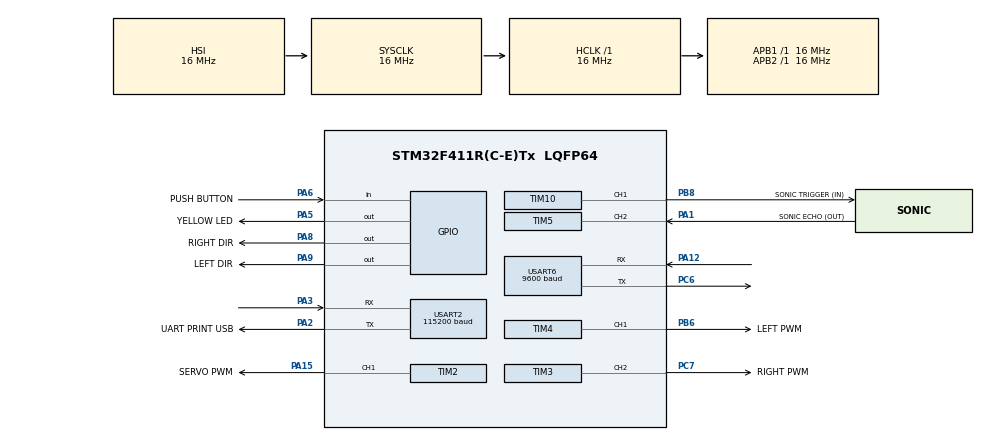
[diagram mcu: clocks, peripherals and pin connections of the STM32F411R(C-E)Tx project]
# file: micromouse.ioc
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Mcu.Family=STM32F4
Mcu.Name=STM32F411R(C-E)Tx
Mcu.Package=LQFP64
NVIC.PriorityGroup=NVIC_PRIORITYGROUP_4
NVIC.TIM5_IRQn=true\:0\:0\:false\:false\:true\:true\:true\:true
NVIC.USART6_IRQn=true\:0\:0\:false\:false\:true\:true\:true\:true
PA1.GPIO_Label=SONIC ECHO (OUT)
PA1.Signal=S_TIM5_CH2
PA12.Mode=Asynchronous
PA12.Signal=USART6_RX
PA15.GPIO_Label=SERVO PWM
PA15.Signal=S_TIM2_CH1_ETR
PA2.GPIO_Label=UART PRINT USB
PA2.Mode=Asynchronous
PA2.Signal=USART2_TX
PA3.Mode=Asynchronous
PA3.Signal=USART2_RX
PA5.GPIO_Label=YELLOW LED
PA5.Signal=GPIO_Output
PA6.GPIO_Label=PUSH BUTTON
PA6.Signal=GPIO_Input
PA8.GPIO_Label=RIGHT DIR
PA8.Signal=GPIO_Output
PA9.GPIO_Label=LEFT DIR
PA9.Signal=GPIO_Output
PB6.GPIO_Label=LEFT PWM
PB6.Signal=S_TIM4_CH1
PB8.GPIO_Label=SONIC TRIGGER (IN)
PB8.Signal=S_TIM10_CH1
PC6.Mode=Asynchronous
PC6.Signal=USART6_TX
PC7.GPIO_Label=RIGHT PWM
PC7.Signal=S_TIM3_CH2
ProjectManager.HeapSize=0x200
ProjectManager.StackSize=0x400
ProjectManager.TargetToolchain=STM32CubeIDE
RCC.AHBFreq_Value=16000000
RCC.APB1Freq_Value=16000000
RCC.APB2Freq_Value=16000000
RCC.CortexFreq_Value=16000000
RCC.HSE_VALUE=25000000
RCC.HSI_VALUE=16000000
RCC.LSE_VALUE=32768
RCC.SYSCLKFreq_VALUE=16000000
RCC.VCOOutputFreq_Value=192000000
SH.S_TIM10_CH1.0=TIM10_CH1,PWM Generation1 CH1
SH.S_TIM2_CH1_ETR.0=TIM2_CH1,PWM Generation1 CH1
SH.S_TIM3_CH2.0=TIM3_CH2,PWM Generation2 CH2
SH.S_TIM4_CH1.0=TIM4_CH1,PWM Generation1 CH1
SH.S_TIM5_CH2.0=TIM5_CH2,Input_Capture2_from_TI2
TIM10.Channel=TIM_CHANNEL_1
TIM10.Period=7999
TIM10.Prescaler=159
TIM10.Pulse=1
TIM2.Channel-PWM\ Generation1\ CH1=TIM_CHANNEL_1
TIM2.Period=3999
TIM2.Prescaler=159
TIM3.Channel-PWM\ Generation2\ CH2=TIM_CHANNEL_2
TIM3.Period=400
TIM4.Channel-PWM\ Generation1\ CH1=TIM_CHANNEL_1
TIM4.Period=400
TIM4.Prescaler=79
TIM5.Channel-Input_Capture2_from_TI2=TIM_CHANNEL_2
TIM5.ICPolarity_CH2=TIM_INPUTCHANNELPOLARITY_RISING
TIM5.Period=65536
TIM5.Prescaler=15
USART2.BaudRate=115200
USART2.VirtualMode=VM_ASYNC
USART6.BaudRate=9600
USART6.VirtualMode=VM_ASYNC
VP_TIM10_VS_ClockSourceINT.Mode=Enable_Timer
board=custom

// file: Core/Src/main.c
/* USER CODE BEGIN Header */
/**
  ******************************************************************************
  * @file           : main.c
  * @brief          : Main program body
  ******************************************************************************
  * @attention
  *
  * <h2><center>&copy; Copyright (c) 2022 STMicroelectronics.
  * All rights reserved.</center></h2>
  *
  * This software component is licensed by ST under BSD 3-Clause license,
  * the "License"; You may not use this file except in compliance with the
  * License. You may obtain a copy of the License at:
  *                        opensource.org/licenses/BSD-3-Clause
  *
  ******************************************************************************
  */
/* USER CODE END Header */
#include "main.h"

/* USER CODE BEGIN Includes */
#include "LED.h"
#include "algorithm.h"
#include "motors.h"
#include "servo.h"
#include "manual_control.h"

/* USER CODE END Includes */

/* USER CODE BEGIN PD */
#define UART_buffer_size 30
/* USER CODE END PD */

 TIM_HandleTypeDef htim2;
TIM_HandleTypeDef htim3;
TIM_HandleTypeDef htim4;
TIM_HandleTypeDef htim5;
TIM_HandleTypeDef htim10;

UART_HandleTypeDef huart2;
UART_HandleTypeDef huart6;

/* USER CODE BEGIN PV */
uint8_t UART6_rxBuffer[UART_buffer_size] = {0};
char current_manual_command = 's';
char requested_manual_command = 's';
/* USER CODE END PV */

void SystemClock_Config(void);
static void MX_GPIO_Init(void);
static void MX_TIM3_Init(void);
static void MX_TIM4_Init(void);
static void MX_TIM2_Init(void);
static void MX_TIM5_Init(void);
static void MX_USART6_UART_Init(void);
static void MX_TIM10_Init(void);
static void MX_USART2_UART_Init(void);

/* USER CODE BEGIN 0 */

void HAL_UART_RxCpltCallback(UART_HandleTypeDef *huart)
{
	HAL_NVIC_DisableIRQ(USART6_IRQn);
	// Save the last command

	// Enable Interrupts
	HAL_NVIC_EnableIRQ(USART6_IRQn);
	HAL_StatusTypeDef ret = HAL_UART_Receive_IT(&huart6, UART6_rxBuffer, UART_buffer_size);

	//	__HAL_UART_CLEAR_FLAG(&huart6, UART_CLEAR_OREF);
	//__HAL_UART_SEND_REQ(JETSON_UART, UART_RXDATA_FLUSH_REQUEST);

	if (ret != HAL_OK) {
		Error_Handler();
		HAL_UART_Abort_IT(&huart6);
		SET_BIT(huart6.Instance->CR3, USART_CR3_EIE);
		HAL_UART_Receive_IT(&huart6, UART6_rxBuffer, UART_buffer_size);
	}
	HAL_NVIC_ClearPendingIRQ(USART6_IRQn);
	requested_manual_command = UART6_rxBuffer[0];
}

/* USER CODE END 0 */

int main(void)
{

  /* MCU Configuration--------------------------------------------------------*/

  /* Reset of all peripherals, Initializes the Flash interface and the Systick. */
  HAL_Init();

  /* Configure the system clock */
  SystemClock_Config();

  /* Initialize all configured peripherals */
  MX_GPIO_Init();
  MX_TIM3_Init();
  MX_TIM4_Init();
  MX_TIM2_Init();
  MX_TIM5_Init();
  MX_USART6_UART_Init();
  MX_TIM10_Init();
  MX_USART2_UART_Init();
  /* USER CODE BEGIN 2 */

  turn_LEDs_all(Off);  // Turn all colors off
  turn_LED(Red, On);  // Turn Red on to indicate state is on
  set_servo_angle(Front);  // Make sure the servo is facing forward
  stop_all_motors();  // Make sure the car is stopped

  // Enable the timers
  __HAL_TIM_ENABLE_IT(&htim5, TIM_IT_CC2);	 // Sonic Echo PWM
  HAL_TIM_PWM_Start(&htim4, TIM_CHANNEL_1);  // Left Motor PWM
  HAL_TIM_PWM_Start(&htim3, TIM_CHANNEL_2);  // Right Motor PWM
  HAL_TIM_PWM_Start(&htim2, TIM_CHANNEL_1);  // Servo Motor PWM
  HAL_TIM_PWM_Start(&htim5, TIM_CHANNEL_2);  // Sonic Echo PWM
  HAL_TIM_PWM_Start(&htim10, TIM_CHANNEL_1);  // Sonic Trigger PWM

  HAL_UART_Receive_IT(&huart6, UART6_rxBuffer, UART_buffer_size);
  uint8_t determined_algorithm = determine_algorithm();

  requested_manual_command = S_CHAR; // TODO - change to S_CHAR if manual mode is supported, AUTON_CHAR if not
//  requested_manual_command = AUTON_CHAR;  // TODO - change to S_CHAR if manual mode is supported, AUTON_CHAR if not
//  HAL_Delay(5000);  // TODO - TEMPORARY DELAY

  /* USER CODE END 2 */

  /* Infinite loop */
  while (1)
  {

    /* USER CODE BEGIN 3 */
	LEFT_MOTOR_MULT = LEFT_MOTOR_MULT_DEFAULT;
	RIGHT_MOTOR_MULT = RIGHT_MOTOR_MULT_DEFAULT;
    set_servo_angle(Front);
    if (current_manual_command != COMPLETED_CHAR)
    {
		printf("Currently changing to manual mode.\r\n");
		char buf[20];
		memcpy(buf, "&MANUAL,,,,,,,,,,,,", 20);
		HAL_UART_Transmit(&huart6, buf, sizeof(buf), 1000);
    }  // if (current_manual_command != COMPLETED_CHAR && current_manual_command != S_CHAR)

	  while (current_manual_command != AUTON_CHAR)
	  {
//			printf("Currently changing to manual mode.\r\n");
//			char buf[20];
//			memcpy(buf, "&MANUAL,,,,,,,,,,,,", 20);
//			HAL_UART_Transmit(&huart6, buf, sizeof(buf), 1000);
		  if(requested_manual_command != current_manual_command)
		  {
			  execute_manual_command(requested_manual_command);
		  }  // if(requested_manual_command != current_manual_command)
	  }  // while (current_manual_command != AUTON_CHAR)

    set_servo_angle(Front);
    printf("Changing to autonomous mode.\r\n");
    char buf[20];
    memcpy(buf, "&AUTONOMOUS,,,,,,,,", 20);
    HAL_UART_Transmit(&huart6, buf, sizeof(buf), 1000);

	  uint8_t completed = do_search_algorithm(determined_algorithm);

    if (completed)
    {
      complete_search_algorithm();
      requested_manual_command = COMPLETED_CHAR;
      current_manual_command = COMPLETED_CHAR;
    }  // if (completed)
    else
    {
	  current_manual_command = S_CHAR;
    }
  }  // while (1)
  /* USER CODE END 3 */
}

void SystemClock_Config(void)
{
  RCC_OscInitTypeDef RCC_OscInitStruct = {0};
  RCC_ClkInitTypeDef RCC_ClkInitStruct = {0};

  /** Configure the main internal regulator output voltage
  */
  __HAL_RCC_PWR_CLK_ENABLE();
  __HAL_PWR_VOLTAGESCALING_CONFIG(PWR_REGULATOR_VOLTAGE_SCALE1);

  /** Initializes the RCC Oscillators according to the specified parameters
  * in the RCC_OscInitTypeDef structure.
  */
  RCC_OscInitStruct.OscillatorType = RCC_OSCILLATORTYPE_HSI;
  RCC_OscInitStruct.HSIState = RCC_HSI_ON;
  RCC_OscInitStruct.HSICalibrationValue = RCC_HSICALIBRATION_DEFAULT;
  RCC_OscInitStruct.PLL.PLLState = RCC_PLL_NONE;
  if (HAL_RCC_OscConfig(&RCC_OscInitStruct) != HAL_OK)
  {
    Error_Handler();
  }

  /** Initializes the CPU, AHB and APB buses clocks
  */
  RCC_ClkInitStruct.ClockType = RCC_CLOCKTYPE_HCLK|RCC_CLOCKTYPE_SYSCLK
                              |RCC_CLOCKTYPE_PCLK1|RCC_CLOCKTYPE_PCLK2;
  RCC_ClkInitStruct.SYSCLKSource = RCC_SYSCLKSOURCE_HSI;
  RCC_ClkInitStruct.AHBCLKDivider = RCC_SYSCLK_DIV1;
  RCC_ClkInitStruct.APB1CLKDivider = RCC_HCLK_DIV1;
  RCC_ClkInitStruct.APB2CLKDivider = RCC_HCLK_DIV1;

  if (HAL_RCC_ClockConfig(&RCC_ClkInitStruct, FLASH_LATENCY_0) != HAL_OK)
  {
    Error_Handler();
  }
}

static void MX_TIM2_Init(void)
{

  TIM_MasterConfigTypeDef sMasterConfig = {0};
  TIM_OC_InitTypeDef sConfigOC = {0};

  htim2.Instance = TIM2;
  htim2.Init.Prescaler = 159;
  htim2.Init.CounterMode = TIM_COUNTERMODE_UP;
  htim2.Init.Period = 3999;
  htim2.Init.ClockDivision = TIM_CLOCKDIVISION_DIV1;
  htim2.Init.AutoReloadPreload = TIM_AUTORELOAD_PRELOAD_DISABLE;
  if (HAL_TIM_PWM_Init(&htim2) != HAL_OK)
  {
    Error_Handler();
  }
  sMasterConfig.MasterOutputTrigger = TIM_TRGO_RESET;
  sMasterConfig.MasterSlaveMode = TIM_MASTERSLAVEMODE_DISABLE;
  if (HAL_TIMEx_MasterConfigSynchronization(&htim2, &sMasterConfig) != HAL_OK)
  {
    Error_Handler();
  }
  sConfigOC.OCMode = TIM_OCMODE_PWM1;
  sConfigOC.Pulse = 0;
  sConfigOC.OCPolarity = TIM_OCPOLARITY_HIGH;
  sConfigOC.OCFastMode = TIM_OCFAST_DISABLE;
  if (HAL_TIM_PWM_ConfigChannel(&htim2, &sConfigOC, TIM_CHANNEL_1) != HAL_OK)
  {
    Error_Handler();
  }
  HAL_TIM_MspPostInit(&htim2);

}

static void MX_TIM3_Init(void)
{

  TIM_MasterConfigTypeDef sMasterConfig = {0};
  TIM_OC_InitTypeDef sConfigOC = {0};

  htim3.Instance = TIM3;
  htim3.Init.Prescaler = 0;
  htim3.Init.CounterMode = TIM_COUNTERMODE_UP;
  htim3.Init.Period = 400;
  htim3.Init.ClockDivision = TIM_CLOCKDIVISION_DIV1;
  htim3.Init.AutoReloadPreload = TIM_AUTORELOAD_PRELOAD_DISABLE;
  if (HAL_TIM_PWM_Init(&htim3) != HAL_OK)
  {
    Error_Handler();
  }
  sMasterConfig.MasterOutputTrigger = TIM_TRGO_RESET;
  sMasterConfig.MasterSlaveMode = TIM_MASTERSLAVEMODE_DISABLE;
  if (HAL_TIMEx_MasterConfigSynchronization(&htim3, &sMasterConfig) != HAL_OK)
  {
    Error_Handler();
  }
  sConfigOC.OCMode = TIM_OCMODE_PWM1;
  sConfigOC.Pulse = 0;
  sConfigOC.OCPolarity = TIM_OCPOLARITY_HIGH;
  sConfigOC.OCFastMode = TIM_OCFAST_DISABLE;
  if (HAL_TIM_PWM_ConfigChannel(&htim3, &sConfigOC, TIM_CHANNEL_2) != HAL_OK)
  {
    Error_Handler();
  }
  HAL_TIM_MspPostInit(&htim3);

}

static void MX_TIM4_Init(void)
{

  TIM_MasterConfigTypeDef sMasterConfig = {0};
  TIM_OC_InitTypeDef sConfigOC = {0};

  htim4.Instance = TIM4;
  htim4.Init.Prescaler = 79;
  htim4.Init.CounterMode = TIM_COUNTERMODE_UP;
  htim4.Init.Period = 400;
  htim4.Init.ClockDivision = TIM_CLOCKDIVISION_DIV1;
  htim4.Init.AutoReloadPreload = TIM_AUTORELOAD_PRELOAD_DISABLE;
  if (HAL_TIM_PWM_Init(&htim4) != HAL_OK)
  {
    Error_Handler();
  }
  sMasterConfig.MasterOutputTrigger = TIM_TRGO_RESET;
  sMasterConfig.MasterSlaveMode = TIM_MASTERSLAVEMODE_DISABLE;
  if (HAL_TIMEx_MasterConfigSynchronization(&htim4, &sMasterConfig) != HAL_OK)
  {
    Error_Handler();
  }
  sConfigOC.OCMode = TIM_OCMODE_PWM1;
  sConfigOC.Pulse = 0;
  sConfigOC.OCPolarity = TIM_OCPOLARITY_HIGH;
  sConfigOC.OCFastMode = TIM_OCFAST_DISABLE;
  if (HAL_TIM_PWM_ConfigChannel(&htim4, &sConfigOC, TIM_CHANNEL_1) != HAL_OK)
  {
    Error_Handler();
  }
  HAL_TIM_MspPostInit(&htim4);

}

static void MX_TIM5_Init(void)
{

  TIM_MasterConfigTypeDef sMasterConfig = {0};
  TIM_IC_InitTypeDef sConfigIC = {0};

  htim5.Instance = TIM5;
  htim5.Init.Prescaler = 15;
  htim5.Init.CounterMode = TIM_COUNTERMODE_UP;
  htim5.Init.Period = 65536;
  htim5.Init.ClockDivision = TIM_CLOCKDIVISION_DIV1;
  htim5.Init.AutoReloadPreload = TIM_AUTORELOAD_PRELOAD_DISABLE;
  if (HAL_TIM_IC_Init(&htim5) != HAL_OK)
  {
    Error_Handler();
  }
  sMasterConfig.MasterOutputTrigger = TIM_TRGO_RESET;
  sMasterConfig.MasterSlaveMode = TIM_MASTERSLAVEMODE_DISABLE;
  if (HAL_TIMEx_MasterConfigSynchronization(&htim5, &sMasterConfig) != HAL_OK)
  {
    Error_Handler();
  }
  sConfigIC.ICPolarity = TIM_INPUTCHANNELPOLARITY_RISING;
  sConfigIC.ICSelection = TIM_ICSELECTION_DIRECTTI;
  sConfigIC.ICPrescaler = TIM_ICPSC_DIV1;
  sConfigIC.ICFilter = 0;
  if (HAL_TIM_IC_ConfigChannel(&htim5, &sConfigIC, TIM_CHANNEL_2) != HAL_OK)
  {
    Error_Handler();
  }

}

static void MX_TIM10_Init(void)
{

  TIM_OC_InitTypeDef sConfigOC = {0};

  htim10.Instance = TIM10;
  htim10.Init.Prescaler = 159;
  htim10.Init.CounterMode = TIM_COUNTERMODE_UP;
  htim10.Init.Period = 7999;
  htim10.Init.ClockDivision = TIM_CLOCKDIVISION_DIV1;
  htim10.Init.AutoReloadPreload = TIM_AUTORELOAD_PRELOAD_DISABLE;
  if (HAL_TIM_Base_Init(&htim10) != HAL_OK)
  {
    Error_Handler();
  }
  if (HAL_TIM_PWM_Init(&htim10) != HAL_OK)
  {
    Error_Handler();
  }
  sConfigOC.OCMode = TIM_OCMODE_PWM1;
  sConfigOC.Pulse = 1;
  sConfigOC.OCPolarity = TIM_OCPOLARITY_HIGH;
  sConfigOC.OCFastMode = TIM_OCFAST_DISABLE;
  if (HAL_TIM_PWM_ConfigChannel(&htim10, &sConfigOC, TIM_CHANNEL_1) != HAL_OK)
  {
    Error_Handler();
  }
  HAL_TIM_MspPostInit(&htim10);

}

static void MX_USART2_UART_Init(void)
{

  huart2.Instance = USART2;
  huart2.Init.BaudRate = 115200;
  huart2.Init.WordLength = UART_WORDLENGTH_8B;
  huart2.Init.StopBits = UART_STOPBITS_1;
  huart2.Init.Parity = UART_PARITY_NONE;
  huart2.Init.Mode = UART_MODE_TX_RX;
  huart2.Init.HwFlowCtl = UART_HWCONTROL_NONE;
  huart2.Init.OverSampling = UART_OVERSAMPLING_16;
  if (HAL_UART_Init(&huart2) != HAL_OK)
  {
    Error_Handler();
  }

}

static void MX_USART6_UART_Init(void)
{

  huart6.Instance = USART6;
  huart6.Init.BaudRate = 9600;
  huart6.Init.WordLength = UART_WORDLENGTH_8B;
  huart6.Init.StopBits = UART_STOPBITS_1;
  huart6.Init.Parity = UART_PARITY_NONE;
  huart6.Init.Mode = UART_MODE_TX_RX;
  huart6.Init.HwFlowCtl = UART_HWCONTROL_NONE;
  huart6.Init.OverSampling = UART_OVERSAMPLING_16;
  if (HAL_UART_Init(&huart6) != HAL_OK)
  {
    Error_Handler();
  }

}

static void MX_GPIO_Init(void)
{
  GPIO_InitTypeDef GPIO_InitStruct = {0};

  /* GPIO Ports Clock Enable */
  __HAL_RCC_GPIOA_CLK_ENABLE();
  __HAL_RCC_GPIOC_CLK_ENABLE();
  __HAL_RCC_GPIOB_CLK_ENABLE();

  /*Configure GPIO pin Output Level */
  HAL_GPIO_WritePin(GPIOA, YELLOW_LED_Pin|RIGHT_DIR_Pin|LEFT_DIR_Pin, GPIO_PIN_RESET);

  /*Configure GPIO pins : YELLOW_LED_Pin RIGHT_DIR_Pin LEFT_DIR_Pin */
  GPIO_InitStruct.Pin = YELLOW_LED_Pin|RIGHT_DIR_Pin|LEFT_DIR_Pin;
  GPIO_InitStruct.Mode = GPIO_MODE_OUTPUT_PP;
  GPIO_InitStruct.Pull = GPIO_NOPULL;
  GPIO_InitStruct.Speed = GPIO_SPEED_FREQ_LOW;
  HAL_GPIO_Init(GPIOA, &GPIO_InitStruct);

  /*Configure GPIO pin : PUSH_BUTTON_Pin */
  GPIO_InitStruct.Pin = PUSH_BUTTON_Pin;
  GPIO_InitStruct.Mode = GPIO_MODE_INPUT;
  GPIO_InitStruct.Pull = GPIO_NOPULL;
  HAL_GPIO_Init(PUSH_BUTTON_GPIO_Port, &GPIO_InitStruct);

}

/* USER CODE BEGIN 4 */

#ifdef __GNUC__
#define PUTCHAR_PROTOTYPE int __io_putchar(int ch)
#else
  #define PUTCHAR_PROTOTYPE int fputc(int ch, FILE *f)
#endif /* __GNUC__ */
PUTCHAR_PROTOTYPE
{
  HAL_UART_Transmit(&huart2, (uint8_t *)&ch, 1, 0xFFFF);
  return ch;
}

/* USER CODE END 4 */

void Error_Handler(void)
{
  __disable_irq();
  while (1)
  {
  }
}
